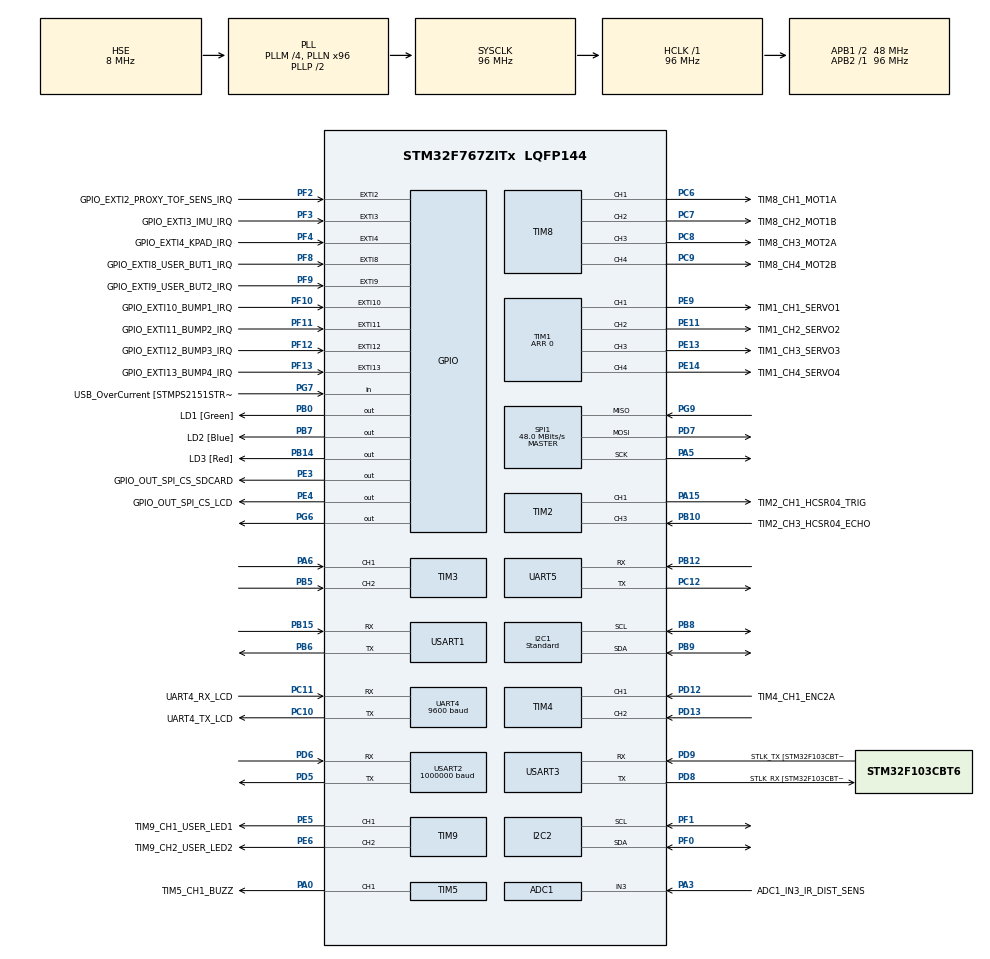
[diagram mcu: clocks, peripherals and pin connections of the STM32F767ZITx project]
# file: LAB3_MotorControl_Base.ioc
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ADC1.Channel-1\#ChannelRegularConversion=ADC_CHANNEL_3
ADC1.NbrOfConversionFlag=1
ADC1.Rank-1\#ChannelRegularConversion=1
ADC1.SamplingTime-1\#ChannelRegularConversion=ADC_SAMPLETIME_3CYCLES
ADC1.master=1
I2C1.I2C_Speed_Mode=I2C_Standard
I2C1.Timing=0x20303E5D
I2C2.Timing=0x20303E5D
Mcu.Family=STM32F7
Mcu.Name=STM32F767ZITx
Mcu.Package=LQFP144
Mcu.UserConstants=TIM3_ARR_VALUE,3839;TIM4_ARR_VALUE,3839;TIM8_PSC_VALUE,959;TIM8_ARR_VALUE,399;TIM6_PSC_VALUE,959;TIM6_ARR_VALUE,999;TIM1_PSC_VALUE,959;TIM1_ARR_VALUE,1999
NVIC.PriorityGroup=NVIC_PRIORITYGROUP_4
NVIC.TIM6_DAC_IRQn=true\:1\:0\:true\:false\:true\:true\:true\:true
PA0/WKUP.GPIO_Label=TIM5_CH1_BUZZ
PA0/WKUP.Signal=S_TIM5_CH1
PA1.GPIO_Label=RMII_REF_CLK [LAN8742A-CZ-TR_REFCLK0]
PA1.Signal=ETH_REF_CLK
PA10.GPIO_Label=USB_ID
PA10.Signal=USB_OTG_FS_ID
PA11.GPIO_Label=USB_DM
PA11.Signal=USB_OTG_FS_DM
PA12.GPIO_Label=USB_DP
PA12.Signal=USB_OTG_FS_DP
PA13.GPIO_Label=TMS
PA13.Mode=Serial_Wire
PA13.Signal=SYS_JTMS-SWDIO
PA14.GPIO_Label=TCK
PA14.Mode=Serial_Wire
PA14.Signal=SYS_JTCK-SWCLK
PA15.GPIO_Label=TIM2_CH1_HCSR04_TRIG
PA15.Signal=S_TIM2_CH1_ETR
PA2.GPIO_Label=RMII_MDIO [LAN8742A-CZ-TR_MDIO]
PA2.Signal=ETH_MDIO
PA3.GPIO_Label=ADC1_IN3_IR_DIST_SENS
PA3.Signal=ADCx_IN3
PA5.Mode=Full_Duplex_Master
PA5.Signal=SPI1_SCK
PA6.Signal=S_TIM3_CH1
PA7.GPIO_Label=RMII_CRS_DV [LAN8742A-CZ-TR_CRS_DV]
PA7.Signal=ETH_CRS_DV
PA8.GPIO_Label=USB_SOF [TP1]
PA8.Signal=USB_OTG_FS_SOF
PA9.GPIO_Label=USB_VBUS
PA9.Signal=USB_OTG_FS_VBUS
PB0.GPIO_Label=LD1 [Green]
PB0.Signal=GPIO_Output
PB10.GPIO_Label=TIM2_CH3_HCSR04_ECHO
PB10.Signal=S_TIM2_CH3
PB12.Mode=Asynchronous
PB12.Signal=UART5_RX
PB13.GPIO_Label=RMII_TXD1 [LAN8742A-CZ-TR_TXD1]
PB13.Signal=ETH_TXD1
PB14.GPIO_Label=LD3 [Red]
PB14.Signal=GPIO_Output
PB15.Mode=Asynchronous
PB15.Signal=USART1_RX
PB3.GPIO_Label=SWO
PB3.Signal=SYS_JTDO-SWO
PB5.Signal=S_TIM3_CH2
PB6.Mode=Asynchronous
PB6.Signal=USART1_TX
PB7.GPIO_Label=LD2 [Blue]
PB7.Signal=GPIO_Output
PB8.GPIO_Pu=GPIO_PULLUP
PB8.Mode=I2C
PB8.Signal=I2C1_SCL
PB9.GPIO_Pu=GPIO_PULLUP
PB9.Mode=I2C
PB9.Signal=I2C1_SDA
PC1.GPIO_Label=RMII_MDC [LAN8742A-CZ-TR_MDC]
PC1.Signal=ETH_MDC
PC10.GPIO_Label=UART4_TX_LCD
PC10.Mode=Asynchronous
PC10.Signal=UART4_TX
PC11.GPIO_Label=UART4_RX_LCD
PC11.Mode=Asynchronous
PC11.Signal=UART4_RX
PC12.Mode=Asynchronous
PC12.Signal=UART5_TX
PC14/OSC32_IN.Mode=LSE-External-Oscillator
PC14/OSC32_IN.Signal=RCC_OSC32_IN
PC15/OSC32_OUT.Mode=LSE-External-Oscillator
PC15/OSC32_OUT.Signal=RCC_OSC32_OUT
PC4.GPIO_Label=RMII_RXD0 [LAN8742A-CZ-TR_RXD0]
PC4.Signal=ETH_RXD0
PC5.GPIO_Label=RMII_RXD1 [LAN8742A-CZ-TR_RXD1]
PC5.Signal=ETH_RXD1
PC6.GPIO_Label=TIM8_CH1_MOT1A
PC6.Signal=S_TIM8_CH1
PC7.GPIO_Label=TIM8_CH2_MOT1B
PC7.Signal=S_TIM8_CH2
PC8.GPIO_Label=TIM8_CH3_MOT2A
PC8.Signal=S_TIM8_CH3
PC9.GPIO_Label=TIM8_CH4_MOT2B
PC9.Signal=S_TIM8_CH4
PD12.GPIO_Label=TIM4_CH1_ENC2A
PD12.Signal=S_TIM4_CH1
PD13.Signal=S_TIM4_CH2
PD5.Mode=Asynchronous
PD5.Signal=USART2_TX
PD6.Mode=Asynchronous
PD6.Signal=USART2_RX
PD7.Mode=Full_Duplex_Master
PD7.Signal=SPI1_MOSI
PD8.GPIO_Label=STLK_RX [STM32F103CBT6_PA3]
PD8.Mode=Asynchronous
PD8.Signal=USART3_TX
PD9.GPIO_Label=STLK_TX [STM32F103CBT6_PA2]
PD9.Mode=Asynchronous
PD9.Signal=USART3_RX
PE11.GPIO_Label=TIM1_CH2_SERVO2
PE11.Signal=S_TIM1_CH2
PE13.GPIO_Label=TIM1_CH3_SERVO3
PE13.Signal=S_TIM1_CH3
PE14.GPIO_Label=TIM1_CH4_SERVO4
PE14.Signal=S_TIM1_CH4
PE3.GPIO_Label=GPIO_OUT_SPI_CS_SDCARD
PE3.Signal=GPIO_Output
PE4.GPIO_Label=GPIO_OUT_SPI_CS_LCD
PE4.Signal=GPIO_Output
PE5.GPIO_Label=TIM9_CH1_USER_LED1
PE5.Signal=S_TIM9_CH1
PE6.GPIO_Label=TIM9_CH2_USER_LED2
PE6.Signal=S_TIM9_CH2
PE9.GPIO_Label=TIM1_CH1_SERVO1
PE9.Signal=S_TIM1_CH1
PF0.GPIO_Pu=GPIO_PULLUP
PF0.Mode=I2C
PF0.Signal=I2C2_SDA
PF1.GPIO_Pu=GPIO_PULLUP
PF1.Mode=I2C
PF1.Signal=I2C2_SCL
PF10.GPIO_Label=GPIO_EXTI10_BUMP1_IRQ
PF10.Signal=GPXTI10
PF11.GPIO_Label=GPIO_EXTI11_BUMP2_IRQ
PF11.Signal=GPXTI11
PF12.GPIO_Label=GPIO_EXTI12_BUMP3_IRQ
PF12.Signal=GPXTI12
PF13.GPIO_Label=GPIO_EXTI13_BUMP4_IRQ
PF13.Signal=GPXTI13
PF2.GPIO_Label=GPIO_EXTI2_PROXY_TOF_SENS_IRQ
PF2.Signal=GPXTI2
PF3.GPIO_Label=GPIO_EXTI3_IMU_IRQ
PF3.Signal=GPXTI3
PF4.GPIO_Label=GPIO_EXTI4_KPAD_IRQ
PF4.Signal=GPXTI4
PF8.GPIO_Label=GPIO_EXTI8_USER_BUT1_IRQ
PF8.Signal=GPXTI8
PF9.GPIO_Label=GPIO_EXTI9_USER_BUT2_IRQ
PF9.Signal=GPXTI9
PG11.GPIO_Label=RMII_TX_EN [LAN8742A-CZ-TR_TXEN]
PG11.Signal=ETH_TX_EN
PG13.GPIO_Label=RMII_TXD0 [LAN8742A-CZ-TR_TXD0]
PG13.Signal=ETH_TXD0
PG6.Signal=GPIO_Output
PG7.GPIO_Label=USB_OverCurrent [STMPS2151STR_FAULT]
PG7.Signal=GPIO_Input
PG9.Mode=Full_Duplex_Master
PG9.Signal=SPI1_MISO
PH0/OSC_IN.GPIO_Label=MCO [STM32F103CBT6_PA8]
PH0/OSC_IN.Mode=HSE-External-Clock-Source
PH0/OSC_IN.Signal=RCC_OSC_IN
PH1/OSC_OUT.Mode=HSE-External-Clock-Source
PH1/OSC_OUT.Signal=RCC_OSC_OUT
ProjectManager.HeapSize=0x200
ProjectManager.StackSize=0x400
ProjectManager.TargetToolchain=STM32CubeIDE
RCC.48MHZClocksFreq_Value=24000000
RCC.AHBFreq_Value=96000000
RCC.APB1CLKDivider=RCC_HCLK_DIV2
RCC.APB1Freq_Value=48000000
RCC.APB1TimFreq_Value=96000000
RCC.APB2Freq_Value=96000000
RCC.APB2TimFreq_Value=96000000
RCC.CortexFreq_Value=96000000
RCC.HCLKFreq_Value=96000000
RCC.HSE_VALUE=8000000
RCC.HSI_VALUE=16000000
RCC.PLLM=4
RCC.PLLMUL=RCC_PLL_MUL9
RCC.PLLN=96
RCC.PLLQ=4
RCC.PLLSourceVirtual=RCC_PLLSOURCE_HSE
RCC.PRESCALERUSB=RCC_USBCLKSOURCE_PLL_DIV1_5
RCC.SYSCLKFreq_VALUE=96000000
RCC.SYSCLKSource=RCC_SYSCLKSOURCE_PLLCLK
RCC.SYSCLKSourceVirtual=RCC_SYSCLKSOURCE_PLLCLK
RCC.USBFreq_Value=48000000
RCC.VCOOutputFreq_Value=192000000
SH.ADCx_IN3.0=ADC1_IN3,IN3
SH.S_TIM1_CH1.0=TIM1_CH1,Forced Output1 CH1
SH.S_TIM1_CH2.0=TIM1_CH2,Forced Output2 CH2
SH.S_TIM1_CH3.0=TIM1_CH3,Forced Output3 CH3
SH.S_TIM1_CH4.0=TIM1_CH4,Forced Output4 CH4
SH.S_TIM2_CH1_ETR.0=TIM2_CH1,PWM Generation1 CH1
SH.S_TIM2_CH3.0=TIM2_CH3,Input_Capture3_from_TI3
SH.S_TIM3_CH1.0=TIM3_CH1,Encoder_Interface
SH.S_TIM3_CH2.0=TIM3_CH2,Encoder_Interface
SH.S_TIM4_CH1.0=TIM4_CH1,Encoder_Interface
SH.S_TIM4_CH2.0=TIM4_CH2,Encoder_Interface
SH.S_TIM5_CH1.0=TIM5_CH1,PWM Generation1 CH1
SH.S_TIM8_CH1.0=TIM8_CH1,PWM Generation1 CH1
SH.S_TIM8_CH2.0=TIM8_CH2,PWM Generation2 CH2
SH.S_TIM8_CH3.0=TIM8_CH3,PWM Generation3 CH3
SH.S_TIM8_CH4.0=TIM8_CH4,PWM Generation4 CH4
SH.S_TIM9_CH1.0=TIM9_CH1,PWM Generation1 CH1
SH.S_TIM9_CH2.0=TIM9_CH2,PWM Generation2 CH2
SPI1.CalculateBaudRate=48.0 MBits/s
SPI1.Direction=SPI_DIRECTION_2LINES
SPI1.Mode=SPI_MODE_MASTER
SPI1.VirtualType=VM_MASTER
TIM1.Channel-Forced\ Output1\ CH1=TIM_CHANNEL_1
TIM1.Channel-Forced\ Output2\ CH2=TIM_CHANNEL_2
TIM1.Channel-Forced\ Output3\ CH3=TIM_CHANNEL_3
TIM1.Channel-Forced\ Output4\ CH4=TIM_CHANNEL_4
TIM1.OCPolarity_1=TIM_OCPOLARITY_LOW
TIM1.OCPolarity_2=TIM_OCPOLARITY_LOW
TIM1.OCPolarity_3=TIM_OCPOLARITY_LOW
TIM1.OCPolarity_4=TIM_OCPOLARITY_LOW
TIM1.Period=0
TIM2.Channel-Input_Capture3_from_TI3=TIM_CHANNEL_3
TIM2.Channel-PWM\ Generation1\ CH1=TIM_CHANNEL_1
TIM4.Period=TIM4_ARR_VALUE
TIM5.Channel-PWM\ Generation1\ CH1=TIM_CHANNEL_1
TIM6.Period=TIM6_ARR_VALUE
TIM6.Prescaler=TIM6_PSC_VALUE
TIM8.Channel-PWM\ Generation1\ CH1=TIM_CHANNEL_1
TIM8.Channel-PWM\ Generation2\ CH2=TIM_CHANNEL_2
TIM8.Channel-PWM\ Generation3\ CH3=TIM_CHANNEL_3
TIM8.Channel-PWM\ Generation4\ CH4=TIM_CHANNEL_4
TIM8.Period=TIM8_ARR_VALUE
TIM8.Prescaler=TIM8_PSC_VALUE
TIM9.Channel-PWM\ Generation1\ CH1=TIM_CHANNEL_1
TIM9.Channel-PWM\ Generation2\ CH2=TIM_CHANNEL_2
UART4.BaudRate=9600
USART1.VirtualMode-Asynchronous=VM_ASYNC
USART2.BaudRate=1000000
USART2.VirtualMode-Asynchronous=VM_ASYNC
USART3.VirtualMode-Asynchronous=VM_ASYNC
VP_TIM1_VS_ClockSourceINT.Mode=Internal
VP_TIM2_VS_ClockSourceINT.Mode=Internal
VP_TIM5_VS_ClockSourceINT.Mode=Internal
VP_TIM6_VS_ClockSourceINT.Mode=Enable_Timer
VP_TIM8_VS_ClockSourceINT.Mode=Internal
board=NUCLEO-F767ZI

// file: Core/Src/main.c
/* USER CODE BEGIN Header */
/**
  ******************************************************************************
  * @file           : main.c
  * @brief          : Main program body
  ******************************************************************************
  * @attention
  *
  * <h2><center>&copy; Copyright (c) 2021 STMicroelectronics.
  * All rights reserved.</center></h2>
  *
  * This software component is licensed by ST under BSD 3-Clause license,
  * the "License"; You may not use this file except in compliance with the
  * License. You may obtain a copy of the License at:
  *                        opensource.org/licenses/BSD-3-Clause
  *
  ******************************************************************************
  */
/* USER CODE END Header */
#include "main.h"

/* USER CODE BEGIN Includes */
#include <math.h>
#include <stdbool.h>
#include "ertc-datalogger.h"
/* USER CODE END Includes */

/* USER CODE BEGIN PD */
//#define	HAL_TIMEOUT		1
#define TS	0.01

#define VBATT	12.0
#define V2DUTY	((float)(TIM8_ARR_VALUE+1)/VBATT)
#define DUTY2V	((float)VBATT/(TIM8_ARR_VALUE+1))

#define RPM2RADS	2*M_PI/60
/* USER CODE END PD */

ADC_HandleTypeDef hadc1;

I2C_HandleTypeDef hi2c1;
I2C_HandleTypeDef hi2c2;

SPI_HandleTypeDef hspi1;

TIM_HandleTypeDef htim1;
TIM_HandleTypeDef htim2;
TIM_HandleTypeDef htim3;
TIM_HandleTypeDef htim4;
TIM_HandleTypeDef htim5;
TIM_HandleTypeDef htim6;
TIM_HandleTypeDef htim8;
TIM_HandleTypeDef htim9;

UART_HandleTypeDef huart4;
UART_HandleTypeDef huart5;
UART_HandleTypeDef huart1;
UART_HandleTypeDef huart2;
UART_HandleTypeDef huart3;

/* USER CODE BEGIN PV */
struct ertc_dlog logger;
/* USER CODE END PV */

void SystemClock_Config(void);
static void MX_GPIO_Init(void);
static void MX_USART3_UART_Init(void);
static void MX_ADC1_Init(void);
static void MX_I2C1_Init(void);
static void MX_I2C2_Init(void);
static void MX_SPI1_Init(void);
static void MX_TIM1_Init(void);
static void MX_TIM2_Init(void);
static void MX_TIM3_Init(void);
static void MX_TIM4_Init(void);
static void MX_TIM5_Init(void);
static void MX_TIM8_Init(void);
static void MX_UART4_Init(void);
static void MX_UART5_Init(void);
static void MX_USART1_UART_Init(void);
static void MX_USART2_UART_Init(void);
static void MX_TIM9_Init(void);
static void MX_TIM6_Init(void);

/* USER CODE BEGIN 0 */

// KEYPAD REFERENCE
const char keypadLayout[4][4] = {
    {'*', '0', '#', 'D'},
    {'7', '8', '9', 'C'},
    {'4', '5', '6', 'B'},
    {'1', '2', '3', 'A'}};

char button;
char input_buffer[4] = {0};  // Max 3 cifre + terminatore
uint8_t input_index = 0;
uint8_t speed_ready = 0;
uint32_t target_speed = 0;
//volatile char button = 0;
// END KEYPAD

struct datalog {
	//float w1, w2;
	float u1, u2, u3;
	float w1, w2, w3;
} data;

// motor 1
float TIM3_speed;
float reference_speed = 0; //RPM
float speed_error;
static float u_int;
float u_p;
float u_pi;
float Kp = 0.5;
float Ki = 6;
uint32_t TIM3_CurrentCount;
int32_t TIM3_DiffCount;
static uint32_t TIM3_PreviousCount = 0;
float duty;

// motor 2
float TIM4_speed;
float reference_speed2 = 0; //RPM
float speed_error2;
static float u_int2;
float u_p2;
float u_pi2;
float Kp2 = 0.5;
float Ki2 = 6;
uint32_t TIM4_CurrentCount;
int32_t TIM4_DiffCount;
static uint32_t TIM4_PreviousCount = 0;
float duty2;

/*
void HAL_GPIO_EXTI_Callback(uint16_t GPIO_Pin)            // KEYPAD REFERENCE
{

    uint8_t col;
    uint8_t row;
    HAL_StatusTypeDef status_col = HAL_I2C_Mem_Read(&hi2c1, SX1509_I2C_ADDR2 << 1, REG_KEY_DATA_1, 1, &col, 1, I2C_TIMEOUT); //col
    HAL_StatusTypeDef status_row = HAL_I2C_Mem_Read(&hi2c1, SX1509_I2C_ADDR2 << 1, REG_KEY_DATA_2, 1, &row, 1, I2C_TIMEOUT); //row

    printf("col = %d\n", col);
    printf("row = %d\n", row);

    int row_index = -1, col_index = -1;

    // Ogni bit basso (0) rappresenta il tasto premuto
    // 0b11111110 = 254 -> bit 0 è 0, quindi indice 0
    // 0b11111101 = 253 -> bit 1 è 0, quindi indice 1
    // 0b11111011 = 251 -> bit 2 è 0, quindi indice 2
    // 0b11110111 = 247 -> bit 3 è 0, quindi indice 3

    switch (row) {
        case 254: row_index = 0; break;
        case 253: row_index = 1; break;
        case 251: row_index = 2; break;
        case 247: row_index = 3; break;
    }

    switch (col) {
        case 254: col_index = 0; break;
        case 253: col_index = 1; break;
        case 251: col_index = 2; break;
        case 247: col_index = 3; break;
    }

    // EXERCISE 4.2

    if (row_index != -1 && col_index != -1) {
        button = keypadLayout[row_index][col_index];
        printf("button = %c \n", button);
        if (button >= '0' && button <= '9') {
            if (input_index < 3) {
                input_buffer[input_index++] = button;
            }
        } else if (button == '#') {
            input_buffer[input_index] = '\0'; // chiusura stringa
            target_speed = atoi((char*)input_buffer); // converte la stringa in intero
            speed_ready = 1;
            input_index = 0; // reset buffer
        } else if (button < '0' && button > '9'){
            // reset se tasto errato o A/B/C/D/*
            input_index = 0;
            memset((char*)input_buffer, 0, sizeof(input_buffer));
        }
    } else {
        printf("Invalid key press: col = %d, row = %d\n", col, row);
    }

}
*/

void HAL_TIM_PeriodElapsedCallback(TIM_HandleTypeDef *htim)
{
    //MOTOR 1

    // ENCODER CALCULATION
	TIM3_CurrentCount = __HAL_TIM_GET_COUNTER(&htim3);
	if(__HAL_TIM_IS_TIM_COUNTING_DOWN(&htim3))
	{
		if(TIM3_CurrentCount <= TIM3_PreviousCount)
			TIM3_DiffCount = TIM3_CurrentCount - TIM3_PreviousCount;
		else
			TIM3_DiffCount = -((TIM3_ARR_VALUE+1) - TIM3_CurrentCount) - TIM3_PreviousCount;
	}
	else
	{
		if(TIM3_CurrentCount >= TIM3_PreviousCount)
			TIM3_DiffCount = TIM3_CurrentCount - TIM3_PreviousCount;
		else
			TIM3_DiffCount = ((TIM3_ARR_VALUE+1) - TIM3_PreviousCount) + TIM3_CurrentCount;
	}

	TIM3_PreviousCount = TIM3_CurrentCount;
	TIM3_speed = (TIM3_DiffCount * 60) / (TIM3_ARR_VALUE * TS); // [rpm]
	speed_error = reference_speed - TIM3_speed;

	u_int += Ki * TS * speed_error;
    u_p = Kp * speed_error;

    u_pi = u_int + u_p;

	static int kLed = 0;

	/* Speed ctrl routine */
	if(htim->Instance == TIM6)
	{
		/*  1. read the counter value from the encoder
			2. compute the difference between the current value and the old value
			3. compute the motor speed , in [ rpm ] for example
			4. compute the tracking error
			5. compute the proportional term
			6. compute the integral term ( simplest way is to use forward Euler method )
			 u_int = u_int + Ki * TS * speed_error
			7. calculate the PI signal and set the pwm of the motor properly */
		//data.w1 = TIM3_DiffCount;
		//data.w2 = TIM3_CurrentCount;

        // SEND VALUES TO STRUCTURE FOR MATLAB
		data.u1 = TIM3_speed;        // VELOCITA
		data.u2 = speed_error;       // ERRORE
		data.u3 = u_pi;              // AZIONE DI CONTROLLO PI [V]

		//ertc_dlog_send(&logger, &data, sizeof(data));
		// Indicate that the program is running
		if(++kLed >= 10)
		{
			kLed = 0;
			HAL_GPIO_TogglePin(LD2_GPIO_Port, LD2_Pin);
		}
	}

	duty = u_pi * V2DUTY;    // CONVERTE L'AZIONE DI CONTROLLO IN DUTY CYCLE (duty max is 399 associato a 12[V]
                             // oppure 8[V] con la batteria)
	//duty = 399;            // Valore max
	if(duty>=TIM8_ARR_VALUE)    // Limita il duty cycle, quindi la tensione (al 100%)
	{
		duty = TIM8_ARR_VALUE;
	}

	/* calculate duty properly */
	if ( duty >= 0)
	{// rotate forward
	 /* alternate between forward and coast */
		//__HAL_TIM_SET_COMPARE (&htim8, TIM_CHANNEL_1, (uint32_t)duty);
		//__HAL_TIM_SET_COMPARE (&htim8, TIM_CHANNEL_2, 0);
	 /* alternate between forward and brake , TIM8_ARR_VALUE is a define */
		__HAL_TIM_SET_COMPARE (&htim8 , TIM_CHANNEL_1 , (uint32_t)TIM8_ARR_VALUE);
		__HAL_TIM_SET_COMPARE (&htim8 , TIM_CHANNEL_2 , (uint32_t)(TIM8_ARR_VALUE - duty));

	} else { // rotate backward
		__HAL_TIM_SET_COMPARE (&htim8, TIM_CHANNEL_1, 0);
		__HAL_TIM_SET_COMPARE (&htim8, TIM_CHANNEL_2, (uint32_t)-duty);
	}

	//MOTOR 2, [cambiano il timer (3->4) e i canali (1->3, 2->4)]

    // ENCODER CALCULATION
	TIM4_CurrentCount = __HAL_TIM_GET_COUNTER(&htim4);
	if(__HAL_TIM_IS_TIM_COUNTING_DOWN(&htim4))
	{
		if(TIM4_CurrentCount <= TIM4_PreviousCount)
			TIM4_DiffCount = TIM4_CurrentCount - TIM4_PreviousCount;
		else
			TIM4_DiffCount = -((TIM4_ARR_VALUE+1) - TIM4_CurrentCount) - TIM4_PreviousCount;
	}
	else
	{
		if(TIM4_CurrentCount >= TIM4_PreviousCount)
			TIM4_DiffCount = TIM4_CurrentCount - TIM4_PreviousCount;
		else
			TIM4_DiffCount = ((TIM4_ARR_VALUE+1) - TIM4_PreviousCount) + TIM4_CurrentCount;
	}

	TIM4_PreviousCount = TIM4_CurrentCount;
	TIM4_speed = (TIM4_DiffCount * 60) / (TIM4_ARR_VALUE * TS); // [rpm]
	speed_error2 = reference_speed2 - TIM4_speed;

	u_int2 += Ki2 * TS * speed_error2;
    u_p2 = Kp2 * speed_error2;

    u_pi2 = u_int2 + u_p2;

	static int kLed2 = 0;

	/* Speed ctrl routine */
	if(htim->Instance == TIM6)
	{
		/*  1. read the counter value from the encoder
			2. compute the difference between the current value and the old value
			3. compute the motor speed , in [ rpm ] for example
			4. compute the tracking error
			5. compute the proportional term
			6. compute the integral term ( simplest way is to use forward Euler method )
			 u_int = u_int + Ki * TS * speed_error
			7. calculate the PI signal and set the pwm of the motor properly */

		// SEND TO STURCTURE FOR MATLAB
		data.w1 = TIM4_speed;
		data.w2 = speed_error2;
		data.w3 = u_pi2;    // AZIONE DI CONTROLLO [V]

		ertc_dlog_send(&logger, &data, sizeof(data));
		// Indicate that the program is running
		if(++kLed2 >= 10)
		{
			kLed2 = 0;
			HAL_GPIO_TogglePin(LD2_GPIO_Port, LD2_Pin);
		}
	}

	duty2 = u_pi2 * V2DUTY;
	//duty = 399;
	if(duty2>=TIM8_ARR_VALUE)     //LIMITA IL DUTY
	{
		duty2 = TIM8_ARR_VALUE;
	}

	/* calculate duty properly */
	if ( duty2 >= 0)
	{// rotate forward
	 /* alternate between forward and coast */
		//__HAL_TIM_SET_COMPARE (&htim8, TIM_CHANNEL_3, (uint32_t)duty2);
		//__HAL_TIM_SET_COMPARE (&htim8, TIM_CHANNEL_4, 0);
	 /* alternate between forward and brake , TIM8_ARR_VALUE is a define */
	    __HAL_TIM_SET_COMPARE (&htim8 , TIM_CHANNEL_3 , (uint32_t)TIM8_ARR_VALUE);
	    __HAL_TIM_SET_COMPARE (&htim8 , TIM_CHANNEL_4 , (uint32_t)(TIM8_ARR_VALUE - duty2));

	} else { // rotate backward
		__HAL_TIM_SET_COMPARE (&htim8, TIM_CHANNEL_3, 0);
		__HAL_TIM_SET_COMPARE (&htim8, TIM_CHANNEL_4, (uint32_t)-duty2);
	}

}

/* USER CODE END 0 */

int main(void)
{

  /* MCU Configuration--------------------------------------------------------*/

  /* Reset of all peripherals, Initializes the Flash interface and the Systick. */
  HAL_Init();

  /* Configure the system clock */
  SystemClock_Config();

  /* Initialize all configured peripherals */
  MX_GPIO_Init();
  MX_USART3_UART_Init();
  MX_ADC1_Init();
  MX_I2C1_Init();
  MX_I2C2_Init();
  MX_SPI1_Init();
  MX_TIM1_Init();
  MX_TIM2_Init();
  MX_TIM3_Init();
  MX_TIM4_Init();
  MX_TIM5_Init();
  MX_TIM8_Init();
  MX_UART4_Init();
  MX_UART5_Init();
  MX_USART1_UART_Init();
  MX_USART2_UART_Init();
  MX_TIM9_Init();
  MX_TIM6_Init();
  /* USER CODE BEGIN 2 */

  logger.uart_handle = huart3; // for serial
  //logger.uart_handle = huart2; // for wifi

  /* Reset LCD */
  HAL_GPIO_WritePin(GPIO_OUT_SPI_CS_LCD_GPIO_Port, GPIO_OUT_SPI_CS_LCD_Pin, GPIO_PIN_SET);

  HAL_Delay(1000);

  /* Start encoders timers */
  HAL_TIM_Encoder_Start(&htim3, TIM_CHANNEL_ALL);
  HAL_TIM_Encoder_Start(&htim4, TIM_CHANNEL_ALL);

  /* Start servomotors PWM (avoid floating inputs to servomotors) */
  HAL_TIM_PWM_Start(&htim1, TIM_CHANNEL_1);
  HAL_TIM_PWM_Start(&htim1, TIM_CHANNEL_2);
  HAL_TIM_PWM_Start(&htim1, TIM_CHANNEL_3);
  HAL_TIM_PWM_Start(&htim1, TIM_CHANNEL_4);

  /* Start motor PWM */
  __HAL_TIM_SET_COMPARE(&htim8, TIM_CHANNEL_1, 0);
  __HAL_TIM_SET_COMPARE(&htim8, TIM_CHANNEL_2, 0);
  __HAL_TIM_SET_COMPARE(&htim8, TIM_CHANNEL_3, 0);
  __HAL_TIM_SET_COMPARE(&htim8, TIM_CHANNEL_4, 0);

  HAL_TIM_PWM_Start(&htim8, TIM_CHANNEL_1);
  HAL_TIM_PWM_Start(&htim8, TIM_CHANNEL_2);
  HAL_TIM_PWM_Start(&htim8, TIM_CHANNEL_3);
  HAL_TIM_PWM_Start(&htim8, TIM_CHANNEL_4);

  /* Start speed ctrl ISR */
  HAL_TIM_Base_Start_IT(&htim6);

  /* USER CODE END 2 */

  /* Infinite loop */
  while (1)
  {

    /* USER CODE BEGIN 3 */
	  ertc_dlog_update(&logger);

	  // BONUS EX 1
	      /*
	      if (speed_ready && target_speed <= 120 ) {                            //KEYPAD (solo velocità positiva)
	          reference_speed2 = target_speed;
	          reference_speed = target_speed;
	      } else {
	          reference_speed2 = 0;
	          reference_speed = 0;
	      }
	      */

	 //HAL_Delay(8000);
	 if(HAL_GetTick()> 8000){  // DELAY NON BLOCCANTE for the step response in matlab
	   reference_speed2 = 60;
	   reference_speed = 60;
	 }
  }
  /* USER CODE END 3 */
}

void SystemClock_Config(void)
{
  RCC_OscInitTypeDef RCC_OscInitStruct = {0};
  RCC_ClkInitTypeDef RCC_ClkInitStruct = {0};

  /** Configure LSE Drive Capability
  */
  HAL_PWR_EnableBkUpAccess();

  /** Configure the main internal regulator output voltage
  */
  __HAL_RCC_PWR_CLK_ENABLE();
  __HAL_PWR_VOLTAGESCALING_CONFIG(PWR_REGULATOR_VOLTAGE_SCALE3);

  /** Initializes the RCC Oscillators according to the specified parameters
  * in the RCC_OscInitTypeDef structure.
  */
  RCC_OscInitStruct.OscillatorType = RCC_OSCILLATORTYPE_HSE;
  RCC_OscInitStruct.HSEState = RCC_HSE_BYPASS;
  RCC_OscInitStruct.PLL.PLLState = RCC_PLL_ON;
  RCC_OscInitStruct.PLL.PLLSource = RCC_PLLSOURCE_HSE;
  RCC_OscInitStruct.PLL.PLLM = 4;
  RCC_OscInitStruct.PLL.PLLN = 96;
  RCC_OscInitStruct.PLL.PLLP = RCC_PLLP_DIV2;
  RCC_OscInitStruct.PLL.PLLQ = 4;
  RCC_OscInitStruct.PLL.PLLR = 2;
  if (HAL_RCC_OscConfig(&RCC_OscInitStruct) != HAL_OK)
  {
    Error_Handler();
  }

  /** Activate the Over-Drive mode
  */
  if (HAL_PWREx_EnableOverDrive() != HAL_OK)
  {
    Error_Handler();
  }

  /** Initializes the CPU, AHB and APB buses clocks
  */
  RCC_ClkInitStruct.ClockType = RCC_CLOCKTYPE_HCLK|RCC_CLOCKTYPE_SYSCLK
                              |RCC_CLOCKTYPE_PCLK1|RCC_CLOCKTYPE_PCLK2;
  RCC_ClkInitStruct.SYSCLKSource = RCC_SYSCLKSOURCE_PLLCLK;
  RCC_ClkInitStruct.AHBCLKDivider = RCC_SYSCLK_DIV1;
  RCC_ClkInitStruct.APB1CLKDivider = RCC_HCLK_DIV2;
  RCC_ClkInitStruct.APB2CLKDivider = RCC_HCLK_DIV1;

  if (HAL_RCC_ClockConfig(&RCC_ClkInitStruct, FLASH_LATENCY_3) != HAL_OK)
  {
    Error_Handler();
  }
}

static void MX_ADC1_Init(void)
{

  ADC_ChannelConfTypeDef sConfig = {0};

  /** Configure the global features of the ADC (Clock, Resolution, Data Alignment and number of conversion)
  */
  hadc1.Instance = ADC1;
  hadc1.Init.ClockPrescaler = ADC_CLOCK_SYNC_PCLK_DIV4;
  hadc1.Init.Resolution = ADC_RESOLUTION_12B;
  hadc1.Init.ScanConvMode = ADC_SCAN_DISABLE;
  hadc1.Init.ContinuousConvMode = DISABLE;
  hadc1.Init.DiscontinuousConvMode = DISABLE;
  hadc1.Init.ExternalTrigConvEdge = ADC_EXTERNALTRIGCONVEDGE_NONE;
  hadc1.Init.ExternalTrigConv = ADC_SOFTWARE_START;
  hadc1.Init.DataAlign = ADC_DATAALIGN_RIGHT;
  hadc1.Init.NbrOfConversion = 1;
  hadc1.Init.DMAContinuousRequests = DISABLE;
  hadc1.Init.EOCSelection = ADC_EOC_SINGLE_CONV;
  if (HAL_ADC_Init(&hadc1) != HAL_OK)
  {
    Error_Handler();
  }

  /** Configure for the selected ADC regular channel its corresponding rank in the sequencer and its sample time.
  */
  sConfig.Channel = ADC_CHANNEL_3;
  sConfig.Rank = ADC_REGULAR_RANK_1;
  sConfig.SamplingTime = ADC_SAMPLETIME_3CYCLES;
  if (HAL_ADC_ConfigChannel(&hadc1, &sConfig) != HAL_OK)
  {
    Error_Handler();
  }

}

static void MX_I2C1_Init(void)
{

  hi2c1.Instance = I2C1;
  hi2c1.Init.Timing = 0x20303E5D;
  hi2c1.Init.OwnAddress1 = 0;
  hi2c1.Init.AddressingMode = I2C_ADDRESSINGMODE_7BIT;
  hi2c1.Init.DualAddressMode = I2C_DUALADDRESS_DISABLE;
  hi2c1.Init.OwnAddress2 = 0;
  hi2c1.Init.OwnAddress2Masks = I2C_OA2_NOMASK;
  hi2c1.Init.GeneralCallMode = I2C_GENERALCALL_DISABLE;
  hi2c1.Init.NoStretchMode = I2C_NOSTRETCH_DISABLE;
  if (HAL_I2C_Init(&hi2c1) != HAL_OK)
  {
    Error_Handler();
  }

  /** Configure Analogue filter
  */
  if (HAL_I2CEx_ConfigAnalogFilter(&hi2c1, I2C_ANALOGFILTER_ENABLE) != HAL_OK)
  {
    Error_Handler();
  }

  /** Configure Digital filter
  */
  if (HAL_I2CEx_ConfigDigitalFilter(&hi2c1, 0) != HAL_OK)
  {
    Error_Handler();
  }

}

static void MX_I2C2_Init(void)
{

  hi2c2.Instance = I2C2;
  hi2c2.Init.Timing = 0x20303E5D;
  hi2c2.Init.OwnAddress1 = 0;
  hi2c2.Init.AddressingMode = I2C_ADDRESSINGMODE_7BIT;
  hi2c2.Init.DualAddressMode = I2C_DUALADDRESS_DISABLE;
  hi2c2.Init.OwnAddress2 = 0;
  hi2c2.Init.OwnAddress2Masks = I2C_OA2_NOMASK;
  hi2c2.Init.GeneralCallMode = I2C_GENERALCALL_DISABLE;
  hi2c2.Init.NoStretchMode = I2C_NOSTRETCH_DISABLE;
  if (HAL_I2C_Init(&hi2c2) != HAL_OK)
  {
    Error_Handler();
  }

  /** Configure Analogue filter
  */
  if (HAL_I2CEx_ConfigAnalogFilter(&hi2c2, I2C_ANALOGFILTER_ENABLE) != HAL_OK)
  {
    Error_Handler();
  }

  /** Configure Digital filter
  */
  if (HAL_I2CEx_ConfigDigitalFilter(&hi2c2, 0) != HAL_OK)
  {
    Error_Handler();
  }

}

static void MX_SPI1_Init(void)
{

  /* SPI1 parameter configuration*/
  hspi1.Instance = SPI1;
  hspi1.Init.Mode = SPI_MODE_MASTER;
  hspi1.Init.Direction = SPI_DIRECTION_2LINES;
  hspi1.Init.DataSize = SPI_DATASIZE_4BIT;
  hspi1.Init.CLKPolarity = SPI_POLARITY_LOW;
  hspi1.Init.CLKPhase = SPI_PHASE_1EDGE;
  hspi1.Init.NSS = SPI_NSS_SOFT;
  hspi1.Init.BaudRatePrescaler = SPI_BAUDRATEPRESCALER_2;
  hspi1.Init.FirstBit = SPI_FIRSTBIT_MSB;
  hspi1.Init.TIMode = SPI_TIMODE_DISABLE;
  hspi1.Init.CRCCalculation = SPI_CRCCALCULATION_DISABLE;
  hspi1.Init.CRCPolynomial = 7;
  hspi1.Init.CRCLength = SPI_CRC_LENGTH_DATASIZE;
  hspi1.Init.NSSPMode = SPI_NSS_PULSE_ENABLE;
  if (HAL_SPI_Init(&hspi1) != HAL_OK)
  {
    Error_Handler();
  }

}

static void MX_TIM1_Init(void)
{

  TIM_ClockConfigTypeDef sClockSourceConfig = {0};
  TIM_MasterConfigTypeDef sMasterConfig = {0};
  TIM_OC_InitTypeDef sConfigOC = {0};
  TIM_BreakDeadTimeConfigTypeDef sBreakDeadTimeConfig = {0};

  htim1.Instance = TIM1;
  htim1.Init.Prescaler = 0;
  htim1.Init.CounterMode = TIM_COUNTERMODE_UP;
  htim1.Init.Period = 0;
  htim1.Init.ClockDivision = TIM_CLOCKDIVISION_DIV1;
  htim1.Init.RepetitionCounter = 0;
  htim1.Init.AutoReloadPreload = TIM_AUTORELOAD_PRELOAD_DISABLE;
  if (HAL_TIM_Base_Init(&htim1) != HAL_OK)
  {
    Error_Handler();
  }
  sClockSourceConfig.ClockSource = TIM_CLOCKSOURCE_INTERNAL;
  if (HAL_TIM_ConfigClockSource(&htim1, &sClockSourceConfig) != HAL_OK)
  {
    Error_Handler();
  }
  if (HAL_TIM_OC_Init(&htim1) != HAL_OK)
  {
    Error_Handler();
  }
  sMasterConfig.MasterOutputTrigger = TIM_TRGO_RESET;
  sMasterConfig.MasterOutputTrigger2 = TIM_TRGO2_RESET;
  sMasterConfig.MasterSlaveMode = TIM_MASTERSLAVEMODE_DISABLE;
  if (HAL_TIMEx_MasterConfigSynchronization(&htim1, &sMasterConfig) != HAL_OK)
  {
    Error_Handler();
  }
  sConfigOC.OCMode = TIM_OCMODE_FORCED_ACTIVE;
  sConfigOC.Pulse = 0;
  sConfigOC.OCPolarity = TIM_OCPOLARITY_LOW;
  sConfigOC.OCNPolarity = TIM_OCNPOLARITY_HIGH;
  sConfigOC.OCFastMode = TIM_OCFAST_DISABLE;
  sConfigOC.OCIdleState = TIM_OCIDLESTATE_RESET;
  sConfigOC.OCNIdleState = TIM_OCNIDLESTATE_RESET;
  if (HAL_TIM_OC_ConfigChannel(&htim1, &sConfigOC, TIM_CHANNEL_1) != HAL_OK)
  {
    Error_Handler();
  }
  if (HAL_TIM_OC_ConfigChannel(&htim1, &sConfigOC, TIM_CHANNEL_2) != HAL_OK)
  {
    Error_Handler();
  }
  if (HAL_TIM_OC_ConfigChannel(&htim1, &sConfigOC, TIM_CHANNEL_3) != HAL_OK)
  {
    Error_Handler();
  }
  if (HAL_TIM_OC_ConfigChannel(&htim1, &sConfigOC, TIM_CHANNEL_4) != HAL_OK)
  {
    Error_Handler();
  }
  sBreakDeadTimeConfig.OffStateRunMode = TIM_OSSR_DISABLE;
  sBreakDeadTimeConfig.OffStateIDLEMode = TIM_OSSI_DISABLE;
  sBreakDeadTimeConfig.LockLevel = TIM_LOCKLEVEL_OFF;
  sBreakDeadTimeConfig.DeadTime = 0;
  sBreakDeadTimeConfig.BreakState = TIM_BREAK_DISABLE;
  sBreakDeadTimeConfig.BreakPolarity = TIM_BREAKPOLARITY_HIGH;
  sBreakDeadTimeConfig.BreakFilter = 0;
  sBreakDeadTimeConfig.Break2State = TIM_BREAK2_DISABLE;
  sBreakDeadTimeConfig.Break2Polarity = TIM_BREAK2POLARITY_HIGH;
  sBreakDeadTimeConfig.Break2Filter = 0;
  sBreakDeadTimeConfig.AutomaticOutput = TIM_AUTOMATICOUTPUT_DISABLE;
  if (HAL_TIMEx_ConfigBreakDeadTime(&htim1, &sBreakDeadTimeConfig) != HAL_OK)
  {
    Error_Handler();
  }
  HAL_TIM_MspPostInit(&htim1);

}

static void MX_TIM2_Init(void)
{

  TIM_ClockConfigTypeDef sClockSourceConfig = {0};
  TIM_MasterConfigTypeDef sMasterConfig = {0};
  TIM_OC_InitTypeDef sConfigOC = {0};
  TIM_IC_InitTypeDef sConfigIC = {0};

  htim2.Instance = TIM2;
  htim2.Init.Prescaler = 0;
  htim2.Init.CounterMode = TIM_COUNTERMODE_UP;
  htim2.Init.Period = 4294967295;
  htim2.Init.ClockDivision = TIM_CLOCKDIVISION_DIV1;
  htim2.Init.AutoReloadPreload = TIM_AUTORELOAD_PRELOAD_DISABLE;
  if (HAL_TIM_Base_Init(&htim2) != HAL_OK)
  {
    Error_Handler();
  }
  sClockSourceConfig.ClockSource = TIM_CLOCKSOURCE_INTERNAL;
  if (HAL_TIM_ConfigClockSource(&htim2, &sClockSourceConfig) != HAL_OK)
  {
    Error_Handler();
  }
  if (HAL_TIM_PWM_Init(&htim2) != HAL_OK)
  {
    Error_Handler();
  }
  if (HAL_TIM_IC_Init(&htim2) != HAL_OK)
  {
    Error_Handler();
  }
  sMasterConfig.MasterOutputTrigger = TIM_TRGO_RESET;
  sMasterConfig.MasterSlaveMode = TIM_MASTERSLAVEMODE_DISABLE;
  if (HAL_TIMEx_MasterConfigSynchronization(&htim2, &sMasterConfig) != HAL_OK)
  {
    Error_Handler();
  }
  sConfigOC.OCMode = TIM_OCMODE_PWM1;
  sConfigOC.Pulse = 0;
  sConfigOC.OCPolarity = TIM_OCPOLARITY_HIGH;
  sConfigOC.OCFastMode = TIM_OCFAST_DISABLE;
  if (HAL_TIM_PWM_ConfigChannel(&htim2, &sConfigOC, TIM_CHANNEL_1) != HAL_OK)
  {
    Error_Handler();
  }
  sConfigIC.ICPolarity = TIM_INPUTCHANNELPOLARITY_RISING;
  sConfigIC.ICSelection = TIM_ICSELECTION_DIRECTTI;
  sConfigIC.ICPrescaler = TIM_ICPSC_DIV1;
  sConfigIC.ICFilter = 0;
  if (HAL_TIM_IC_ConfigChannel(&htim2, &sConfigIC, TIM_CHANNEL_3) != HAL_OK)
  {
    Error_Handler();
  }
  HAL_TIM_MspPostInit(&htim2);

}

static void MX_TIM3_Init(void)
{

  TIM_Encoder_InitTypeDef sConfig = {0};
  TIM_MasterConfigTypeDef sMasterConfig = {0};

  htim3.Instance = TIM3;
  htim3.Init.Prescaler = 0;
  htim3.Init.CounterMode = TIM_COUNTERMODE_UP;
  htim3.Init.Period = TIM3_ARR_VALUE;
  htim3.Init.ClockDivision = TIM_CLOCKDIVISION_DIV1;
  htim3.Init.AutoReloadPreload = TIM_AUTORELOAD_PRELOAD_DISABLE;
  sConfig.EncoderMode = TIM_ENCODERMODE_TI12;
  sConfig.IC1Polarity = TIM_ICPOLARITY_RISING;
  sConfig.IC1Selection = TIM_ICSELECTION_DIRECTTI;
  sConfig.IC1Prescaler = TIM_ICPSC_DIV1;
  sConfig.IC1Filter = 15;
  sConfig.IC2Polarity = TIM_ICPOLARITY_RISING;
  sConfig.IC2Selection = TIM_ICSELECTION_DIRECTTI;
  sConfig.IC2Prescaler = TIM_ICPSC_DIV1;
  sConfig.IC2Filter = 15;
  if (HAL_TIM_Encoder_Init(&htim3, &sConfig) != HAL_OK)
  {
    Error_Handler();
  }
  sMasterConfig.MasterOutputTrigger = TIM_TRGO_RESET;
  sMasterConfig.MasterSlaveMode = TIM_MASTERSLAVEMODE_DISABLE;
  if (HAL_TIMEx_MasterConfigSynchronization(&htim3, &sMasterConfig) != HAL_OK)
  {
    Error_Handler();
  }

}

static void MX_TIM4_Init(void)
{

  TIM_Encoder_InitTypeDef sConfig = {0};
  TIM_MasterConfigTypeDef sMasterConfig = {0};

  htim4.Instance = TIM4;
  htim4.Init.Prescaler = 0;
  htim4.Init.CounterMode = TIM_COUNTERMODE_UP;
  htim4.Init.Period = TIM4_ARR_VALUE;
  htim4.Init.ClockDivision = TIM_CLOCKDIVISION_DIV1;
  htim4.Init.AutoReloadPreload = TIM_AUTORELOAD_PRELOAD_DISABLE;
  sConfig.EncoderMode = TIM_ENCODERMODE_TI12;
  sConfig.IC1Polarity = TIM_ICPOLARITY_RISING;
  sConfig.IC1Selection = TIM_ICSELECTION_DIRECTTI;
  sConfig.IC1Prescaler = TIM_ICPSC_DIV1;
  sConfig.IC1Filter = 15;
  sConfig.IC2Polarity = TIM_ICPOLARITY_RISING;
  sConfig.IC2Selection = TIM_ICSELECTION_DIRECTTI;
  sConfig.IC2Prescaler = TIM_ICPSC_DIV1;
  sConfig.IC2Filter = 15;
  if (HAL_TIM_Encoder_Init(&htim4, &sConfig) != HAL_OK)
  {
    Error_Handler();
  }
  sMasterConfig.MasterOutputTrigger = TIM_TRGO_RESET;
  sMasterConfig.MasterSlaveMode = TIM_MASTERSLAVEMODE_DISABLE;
  if (HAL_TIMEx_MasterConfigSynchronization(&htim4, &sMasterConfig) != HAL_OK)
  {
    Error_Handler();
  }

}

static void MX_TIM5_Init(void)
{

  TIM_ClockConfigTypeDef sClockSourceConfig = {0};
  TIM_MasterConfigTypeDef sMasterConfig = {0};
  TIM_OC_InitTypeDef sConfigOC = {0};

  htim5.Instance = TIM5;
  htim5.Init.Prescaler = 0;
  htim5.Init.CounterMode = TIM_COUNTERMODE_UP;
  htim5.Init.Period = 4294967295;
  htim5.Init.ClockDivision = TIM_CLOCKDIVISION_DIV1;
  htim5.Init.AutoReloadPreload = TIM_AUTORELOAD_PRELOAD_DISABLE;
  if (HAL_TIM_Base_Init(&htim5) != HAL_OK)
  {
    Error_Handler();
  }
  sClockSourceConfig.ClockSource = TIM_CLOCKSOURCE_INTERNAL;
  if (HAL_TIM_ConfigClockSource(&htim5, &sClockSourceConfig) != HAL_OK)
  {
    Error_Handler();
  }
  if (HAL_TIM_PWM_Init(&htim5) != HAL_OK)
  {
    Error_Handler();
  }
  sMasterConfig.MasterOutputTrigger = TIM_TRGO_RESET;
  sMasterConfig.MasterSlaveMode = TIM_MASTERSLAVEMODE_DISABLE;
  if (HAL_TIMEx_MasterConfigSynchronization(&htim5, &sMasterConfig) != HAL_OK)
  {
    Error_Handler();
  }
  sConfigOC.OCMode = TIM_OCMODE_PWM1;
  sConfigOC.Pulse = 0;
  sConfigOC.OCPolarity = TIM_OCPOLARITY_HIGH;
  sConfigOC.OCFastMode = TIM_OCFAST_DISABLE;
  if (HAL_TIM_PWM_ConfigChannel(&htim5, &sConfigOC, TIM_CHANNEL_1) != HAL_OK)
  {
    Error_Handler();
  }
  HAL_TIM_MspPostInit(&htim5);

}

static void MX_TIM6_Init(void)
{

  TIM_MasterConfigTypeDef sMasterConfig = {0};

  htim6.Instance = TIM6;
  htim6.Init.Prescaler = TIM6_PSC_VALUE;
  htim6.Init.CounterMode = TIM_COUNTERMODE_UP;
  htim6.Init.Period = TIM6_ARR_VALUE;
  htim6.Init.AutoReloadPreload = TIM_AUTORELOAD_PRELOAD_DISABLE;
  if (HAL_TIM_Base_Init(&htim6) != HAL_OK)
  {
    Error_Handler();
  }
  sMasterConfig.MasterOutputTrigger = TIM_TRGO_RESET;
  sMasterConfig.MasterSlaveMode = TIM_MASTERSLAVEMODE_DISABLE;
  if (HAL_TIMEx_MasterConfigSynchronization(&htim6, &sMasterConfig) != HAL_OK)
  {
    Error_Handler();
  }

}

static void MX_TIM8_Init(void)
{

  TIM_ClockConfigTypeDef sClockSourceConfig = {0};
  TIM_MasterConfigTypeDef sMasterConfig = {0};
  TIM_OC_InitTypeDef sConfigOC = {0};
  TIM_BreakDeadTimeConfigTypeDef sBreakDeadTimeConfig = {0};

  htim8.Instance = TIM8;
  htim8.Init.Prescaler = TIM8_PSC_VALUE;
  htim8.Init.CounterMode = TIM_COUNTERMODE_UP;
  htim8.Init.Period = TIM8_ARR_VALUE;
  htim8.Init.ClockDivision = TIM_CLOCKDIVISION_DIV1;
  htim8.Init.RepetitionCounter = 0;
  htim8.Init.AutoReloadPreload = TIM_AUTORELOAD_PRELOAD_DISABLE;
  if (HAL_TIM_Base_Init(&htim8) != HAL_OK)
  {
    Error_Handler();
  }
  sClockSourceConfig.ClockSource = TIM_CLOCKSOURCE_INTERNAL;
  if (HAL_TIM_ConfigClockSource(&htim8, &sClockSourceConfig) != HAL_OK)
  {
    Error_Handler();
  }
  if (HAL_TIM_PWM_Init(&htim8) != HAL_OK)
  {
    Error_Handler();
  }
  sMasterConfig.MasterOutputTrigger = TIM_TRGO_RESET;
  sMasterConfig.MasterOutputTrigger2 = TIM_TRGO2_RESET;
  sMasterConfig.MasterSlaveMode = TIM_MASTERSLAVEMODE_DISABLE;
  if (HAL_TIMEx_MasterConfigSynchronization(&htim8, &sMasterConfig) != HAL_OK)
  {
    Error_Handler();
  }
  sConfigOC.OCMode = TIM_OCMODE_PWM1;
  sConfigOC.Pulse = 0;
  sConfigOC.OCPolarity = TIM_OCPOLARITY_HIGH;
  sConfigOC.OCNPolarity = TIM_OCNPOLARITY_HIGH;
  sConfigOC.OCFastMode = TIM_OCFAST_DISABLE;
  sConfigOC.OCIdleState = TIM_OCIDLESTATE_RESET;
  sConfigOC.OCNIdleState = TIM_OCNIDLESTATE_RESET;
  if (HAL_TIM_PWM_ConfigChannel(&htim8, &sConfigOC, TIM_CHANNEL_1) != HAL_OK)
  {
    Error_Handler();
  }
  if (HAL_TIM_PWM_ConfigChannel(&htim8, &sConfigOC, TIM_CHANNEL_2) != HAL_OK)
  {
    Error_Handler();
  }
  if (HAL_TIM_PWM_ConfigChannel(&htim8, &sConfigOC, TIM_CHANNEL_3) != HAL_OK)
  {
    Error_Handler();
  }
  if (HAL_TIM_PWM_ConfigChannel(&htim8, &sConfigOC, TIM_CHANNEL_4) != HAL_OK)
  {
    Error_Handler();
  }
  sBreakDeadTimeConfig.OffStateRunMode = TIM_OSSR_DISABLE;
  sBreakDeadTimeConfig.OffStateIDLEMode = TIM_OSSI_DISABLE;
  sBreakDeadTimeConfig.LockLevel = TIM_LOCKLEVEL_OFF;
  sBreakDeadTimeConfig.DeadTime = 0;
  sBreakDeadTimeConfig.BreakState = TIM_BREAK_DISABLE;
  sBreakDeadTimeConfig.BreakPolarity = TIM_BREAKPOLARITY_HIGH;
  sBreakDeadTimeConfig.BreakFilter = 0;
  sBreakDeadTimeConfig.Break2State = TIM_BREAK2_DISABLE;
  sBreakDeadTimeConfig.Break2Polarity = TIM_BREAK2POLARITY_HIGH;
  sBreakDeadTimeConfig.Break2Filter = 0;
  sBreakDeadTimeConfig.AutomaticOutput = TIM_AUTOMATICOUTPUT_DISABLE;
  if (HAL_TIMEx_ConfigBreakDeadTime(&htim8, &sBreakDeadTimeConfig) != HAL_OK)
  {
    Error_Handler();
  }
  HAL_TIM_MspPostInit(&htim8);

}

static void MX_TIM9_Init(void)
{

  TIM_OC_InitTypeDef sConfigOC = {0};

  htim9.Instance = TIM9;
  htim9.Init.Prescaler = 0;
  htim9.Init.CounterMode = TIM_COUNTERMODE_UP;
  htim9.Init.Period = 65535;
  htim9.Init.ClockDivision = TIM_CLOCKDIVISION_DIV1;
  htim9.Init.AutoReloadPreload = TIM_AUTORELOAD_PRELOAD_DISABLE;
  if (HAL_TIM_PWM_Init(&htim9) != HAL_OK)
  {
    Error_Handler();
  }
  sConfigOC.OCMode = TIM_OCMODE_PWM1;
  sConfigOC.Pulse = 0;
  sConfigOC.OCPolarity = TIM_OCPOLARITY_HIGH;
  sConfigOC.OCFastMode = TIM_OCFAST_DISABLE;
  if (HAL_TIM_PWM_ConfigChannel(&htim9, &sConfigOC, TIM_CHANNEL_1) != HAL_OK)
  {
    Error_Handler();
  }
  if (HAL_TIM_PWM_ConfigChannel(&htim9, &sConfigOC, TIM_CHANNEL_2) != HAL_OK)
  {
    Error_Handler();
  }
  HAL_TIM_MspPostInit(&htim9);

}

static void MX_UART4_Init(void)
{

  huart4.Instance = UART4;
  huart4.Init.BaudRate = 9600;
  huart4.Init.WordLength = UART_WORDLENGTH_8B;
  huart4.Init.StopBits = UART_STOPBITS_1;
  huart4.Init.Parity = UART_PARITY_NONE;
  huart4.Init.Mode = UART_MODE_TX_RX;
  huart4.Init.HwFlowCtl = UART_HWCONTROL_NONE;
  huart4.Init.OverSampling = UART_OVERSAMPLING_16;
  huart4.Init.OneBitSampling = UART_ONE_BIT_SAMPLE_DISABLE;
  huart4.AdvancedInit.AdvFeatureInit = UART_ADVFEATURE_NO_INIT;
  if (HAL_UART_Init(&huart4) != HAL_OK)
  {
    Error_Handler();
  }

}

static void MX_UART5_Init(void)
{

  huart5.Instance = UART5;
  huart5.Init.BaudRate = 115200;
  huart5.Init.WordLength = UART_WORDLENGTH_8B;
  huart5.Init.StopBits = UART_STOPBITS_1;
  huart5.Init.Parity = UART_PARITY_NONE;
  huart5.Init.Mode = UART_MODE_TX_RX;
  huart5.Init.HwFlowCtl = UART_HWCONTROL_NONE;
  huart5.Init.OverSampling = UART_OVERSAMPLING_16;
  huart5.Init.OneBitSampling = UART_ONE_BIT_SAMPLE_DISABLE;
  huart5.AdvancedInit.AdvFeatureInit = UART_ADVFEATURE_NO_INIT;
  if (HAL_UART_Init(&huart5) != HAL_OK)
  {
    Error_Handler();
  }

}

static void MX_USART1_UART_Init(void)
{

  huart1.Instance = USART1;
  huart1.Init.BaudRate = 115200;
  huart1.Init.WordLength = UART_WORDLENGTH_8B;
  huart1.Init.StopBits = UART_STOPBITS_1;
  huart1.Init.Parity = UART_PARITY_NONE;
  huart1.Init.Mode = UART_MODE_TX_RX;
  huart1.Init.HwFlowCtl = UART_HWCONTROL_NONE;
  huart1.Init.OverSampling = UART_OVERSAMPLING_16;
  huart1.Init.OneBitSampling = UART_ONE_BIT_SAMPLE_DISABLE;
  huart1.AdvancedInit.AdvFeatureInit = UART_ADVFEATURE_NO_INIT;
  if (HAL_UART_Init(&huart1) != HAL_OK)
  {
    Error_Handler();
  }

}

static void MX_USART2_UART_Init(void)
{

  huart2.Instance = USART2;
  huart2.Init.BaudRate = 1000000;
  huart2.Init.WordLength = UART_WORDLENGTH_8B;
  huart2.Init.StopBits = UART_STOPBITS_1;
  huart2.Init.Parity = UART_PARITY_NONE;
  huart2.Init.Mode = UART_MODE_TX_RX;
  huart2.Init.HwFlowCtl = UART_HWCONTROL_NONE;
  huart2.Init.OverSampling = UART_OVERSAMPLING_16;
  huart2.Init.OneBitSampling = UART_ONE_BIT_SAMPLE_DISABLE;
  huart2.AdvancedInit.AdvFeatureInit = UART_ADVFEATURE_NO_INIT;
  if (HAL_UART_Init(&huart2) != HAL_OK)
  {
    Error_Handler();
  }

}

static void MX_USART3_UART_Init(void)
{

  huart3.Instance = USART3;
  huart3.Init.BaudRate = 115200;
  huart3.Init.WordLength = UART_WORDLENGTH_8B;
  huart3.Init.StopBits = UART_STOPBITS_1;
  huart3.Init.Parity = UART_PARITY_NONE;
  huart3.Init.Mode = UART_MODE_TX_RX;
  huart3.Init.HwFlowCtl = UART_HWCONTROL_NONE;
  huart3.Init.OverSampling = UART_OVERSAMPLING_16;
  huart3.Init.OneBitSampling = UART_ONE_BIT_SAMPLE_DISABLE;
  huart3.AdvancedInit.AdvFeatureInit = UART_ADVFEATURE_NO_INIT;
  if (HAL_UART_Init(&huart3) != HAL_OK)
  {
    Error_Handler();
  }

}

static void MX_GPIO_Init(void)
{
  GPIO_InitTypeDef GPIO_InitStruct = {0};

  /* GPIO Ports Clock Enable */
  __HAL_RCC_GPIOE_CLK_ENABLE();
  __HAL_RCC_GPIOC_CLK_ENABLE();
  __HAL_RCC_GPIOF_CLK_ENABLE();
  __HAL_RCC_GPIOH_CLK_ENABLE();
  __HAL_RCC_GPIOA_CLK_ENABLE();
  __HAL_RCC_GPIOB_CLK_ENABLE();
  __HAL_RCC_GPIOD_CLK_ENABLE();
  __HAL_RCC_GPIOG_CLK_ENABLE();

  /*Configure GPIO pin Output Level */
  HAL_GPIO_WritePin(GPIOE, GPIO_OUT_SPI_CS_SDCARD_Pin|GPIO_OUT_SPI_CS_LCD_Pin, GPIO_PIN_RESET);

  /*Configure GPIO pin Output Level */
  HAL_GPIO_WritePin(GPIOB, LD1_Pin|LD3_Pin|LD2_Pin, GPIO_PIN_RESET);

  /*Configure GPIO pin Output Level */
  HAL_GPIO_WritePin(GPIOG, GPIO_PIN_6, GPIO_PIN_RESET);

  /*Configure GPIO pins : GPIO_OUT_SPI_CS_SDCARD_Pin GPIO_OUT_SPI_CS_LCD_Pin */
  GPIO_InitStruct.Pin = GPIO_OUT_SPI_CS_SDCARD_Pin|GPIO_OUT_SPI_CS_LCD_Pin;
  GPIO_InitStruct.Mode = GPIO_MODE_OUTPUT_PP;
  GPIO_InitStruct.Pull = GPIO_NOPULL;
  GPIO_InitStruct.Speed = GPIO_SPEED_FREQ_LOW;
  HAL_GPIO_Init(GPIOE, &GPIO_InitStruct);

  /*Configure GPIO pins : GPIO_EXTI2_PROXY_TOF_SENS_IRQ_Pin GPIO_EXTI3_IMU_IRQ_Pin GPIO_EXTI4_KPAD_IRQ_Pin GPIO_EXTI8_USER_BUT1_IRQ_Pin
                           GPIO_EXTI9_USER_BUT2_IRQ_Pin GPIO_EXTI10_BUMP1_IRQ_Pin GPIO_EXTI11_BUMP2_IRQ_Pin GPIO_EXTI12_BUMP3_IRQ_Pin
                           GPIO_EXTI13_BUMP4_IRQ_Pin */
  GPIO_InitStruct.Pin = GPIO_EXTI2_PROXY_TOF_SENS_IRQ_Pin|GPIO_EXTI3_IMU_IRQ_Pin|GPIO_EXTI4_KPAD_IRQ_Pin|GPIO_EXTI8_USER_BUT1_IRQ_Pin
                          |GPIO_EXTI9_USER_BUT2_IRQ_Pin|GPIO_EXTI10_BUMP1_IRQ_Pin|GPIO_EXTI11_BUMP2_IRQ_Pin|GPIO_EXTI12_BUMP3_IRQ_Pin
                          |GPIO_EXTI13_BUMP4_IRQ_Pin;
  GPIO_InitStruct.Mode = GPIO_MODE_IT_RISING;
  GPIO_InitStruct.Pull = GPIO_NOPULL;
  HAL_GPIO_Init(GPIOF, &GPIO_InitStruct);

  /*Configure GPIO pins : RMII_MDC_Pin RMII_RXD0_Pin RMII_RXD1_Pin */
  GPIO_InitStruct.Pin = RMII_MDC_Pin|RMII_RXD0_Pin|RMII_RXD1_Pin;
  GPIO_InitStruct.Mode = GPIO_MODE_AF_PP;
  GPIO_InitStruct.Pull = GPIO_NOPULL;
  GPIO_InitStruct.Speed = GPIO_SPEED_FREQ_VERY_HIGH;
  GPIO_InitStruct.Alternate = GPIO_AF11_ETH;
  HAL_GPIO_Init(GPIOC, &GPIO_InitStruct);

  /*Configure GPIO pins : RMII_REF_CLK_Pin RMII_MDIO_Pin RMII_CRS_DV_Pin */
  GPIO_InitStruct.Pin = RMII_REF_CLK_Pin|RMII_MDIO_Pin|RMII_CRS_DV_Pin;
  GPIO_InitStruct.Mode = GPIO_MODE_AF_PP;
  GPIO_InitStruct.Pull = GPIO_NOPULL;
  GPIO_InitStruct.Speed = GPIO_SPEED_FREQ_VERY_HIGH;
  GPIO_InitStruct.Alternate = GPIO_AF11_ETH;
  HAL_GPIO_Init(GPIOA, &GPIO_InitStruct);

  /*Configure GPIO pins : LD1_Pin LD3_Pin LD2_Pin */
  GPIO_InitStruct.Pin = LD1_Pin|LD3_Pin|LD2_Pin;
  GPIO_InitStruct.Mode = GPIO_MODE_OUTPUT_PP;
  GPIO_InitStruct.Pull = GPIO_NOPULL;
  GPIO_InitStruct.Speed = GPIO_SPEED_FREQ_LOW;
  HAL_GPIO_Init(GPIOB, &GPIO_InitStruct);

  /*Configure GPIO pin : RMII_TXD1_Pin */
  GPIO_InitStruct.Pin = RMII_TXD1_Pin;
  GPIO_InitStruct.Mode = GPIO_MODE_AF_PP;
  GPIO_InitStruct.Pull = GPIO_NOPULL;
  GPIO_InitStruct.Speed = GPIO_SPEED_FREQ_VERY_HIGH;
  GPIO_InitStruct.Alternate = GPIO_AF11_ETH;
  HAL_GPIO_Init(RMII_TXD1_GPIO_Port, &GPIO_InitStruct);

  /*Configure GPIO pin : PG6 */
  GPIO_InitStruct.Pin = GPIO_PIN_6;
  GPIO_InitStruct.Mode = GPIO_MODE_OUTPUT_PP;
  GPIO_InitStruct.Pull = GPIO_NOPULL;
  GPIO_InitStruct.Speed = GPIO_SPEED_FREQ_LOW;
  HAL_GPIO_Init(GPIOG, &GPIO_InitStruct);

  /*Configure GPIO pin : USB_OverCurrent_Pin */
  GPIO_InitStruct.Pin = USB_OverCurrent_Pin;
  GPIO_InitStruct.Mode = GPIO_MODE_INPUT;
  GPIO_InitStruct.Pull = GPIO_NOPULL;
  HAL_GPIO_Init(USB_OverCurrent_GPIO_Port, &GPIO_InitStruct);

  /*Configure GPIO pins : USB_SOF_Pin USB_ID_Pin USB_DM_Pin USB_DP_Pin */
  GPIO_InitStruct.Pin = USB_SOF_Pin|USB_ID_Pin|USB_DM_Pin|USB_DP_Pin;
  GPIO_InitStruct.Mode = GPIO_MODE_AF_PP;
  GPIO_InitStruct.Pull = GPIO_NOPULL;
  GPIO_InitStruct.Speed = GPIO_SPEED_FREQ_VERY_HIGH;
  GPIO_InitStruct.Alternate = GPIO_AF10_OTG_FS;
  HAL_GPIO_Init(GPIOA, &GPIO_InitStruct);

  /*Configure GPIO pin : USB_VBUS_Pin */
  GPIO_InitStruct.Pin = USB_VBUS_Pin;
  GPIO_InitStruct.Mode = GPIO_MODE_INPUT;
  GPIO_InitStruct.Pull = GPIO_NOPULL;
  HAL_GPIO_Init(USB_VBUS_GPIO_Port, &GPIO_InitStruct);

  /*Configure GPIO pins : RMII_TX_EN_Pin RMII_TXD0_Pin */
  GPIO_InitStruct.Pin = RMII_TX_EN_Pin|RMII_TXD0_Pin;
  GPIO_InitStruct.Mode = GPIO_MODE_AF_PP;
  GPIO_InitStruct.Pull = GPIO_NOPULL;
  GPIO_InitStruct.Speed = GPIO_SPEED_FREQ_VERY_HIGH;
  GPIO_InitStruct.Alternate = GPIO_AF11_ETH;
  HAL_GPIO_Init(GPIOG, &GPIO_InitStruct);

}

void Error_Handler(void)
{
  /* USER CODE BEGIN Error_Handler_Debug */
  /* User can add his own implementation to report the HAL error return state */
  __disable_irq();
  while (1)
  {
	  static uint32_t kLed = 0;
	  if(++kLed >= 1000)
	  {
		  kLed = 0;
		  HAL_GPIO_TogglePin(LD3_GPIO_Port, LD3_Pin);
	  }
  }
  /* USER CODE END Error_Handler_Debug */
}
